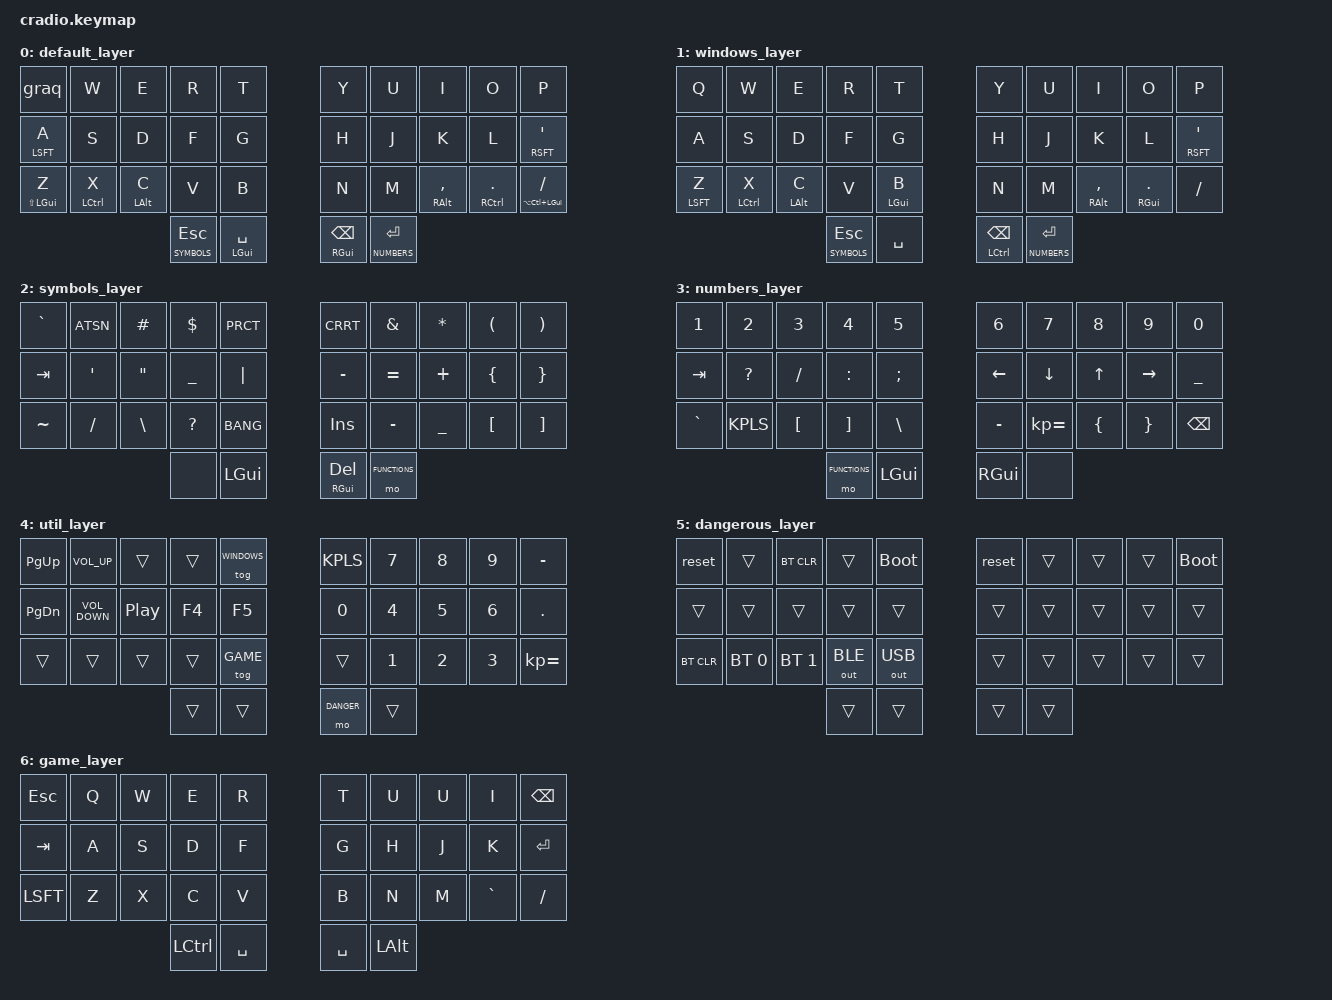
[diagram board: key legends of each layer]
/*
 * Copyright (c) 2020 The ZMK Contributors
 *
 * SPDX-License-Identifier: MIT
 */

#include <behaviors.dtsi>
#include <dt-bindings/zmk/keys.h>
#include <dt-bindings/zmk/bt.h>
#include <dt-bindings/zmk/outputs.h>

#define DEFAULT     0
#define WINDOWS     1
#define SYMBOLS     2
#define NUMBERS     3
#define FUNCTIONS   4
#define DANGER      5
#define GAME        6

&mt {
  flavor = "tap-preferred";
  tapping_term_ms = <200>;
  quick-tap-ms = <175>;
};

&caps_word {
    continue-list = <UNDERSCORE MINUS BKSP>;
};

/ {

    combos {
        compatible = "zmk,combos";
        combo_gui {
            timeout-ms = <50>;
            key-positions = <0 1>;
            bindings = <&kp LGUI>;
        };

        combo_minus {
            timeout-ms = <33>;
            key-positions = <6 9>;
            bindings = <&kp MINUS>;
        };

        combo_equal {
            timeout-ms = <33>;
            key-positions = <7 9>;
            bindings = <&kp EQL>;
        };

        combo_backslash {
            timeout-ms = <33>;
            key-positions = <8 9>;
            bindings = <&kp BSLH>;
        };

        combo_semicolon {
            timeout-ms = <50>;
            key-positions = <18 19>;
            bindings = <&kp SCLN>;
        };

        combo_cap_word {
            timeout-ms = <50>;
            key-positions = <10 19>;
            bindings = <&caps_word>;
        };

        combo_windows {
            timeout-ms = <75>;
            key-positions = <0 9>;
            bindings = <&tog WINDOWS>;
        };

        combo_game {
            timeout-ms = <75>;
            key-positions = <0 8>;
            bindings = <&tog GAME>;
        };
    };

    behaviors {
        td0: tap_dance_0 {
            compatible = "zmk,behavior-tap-dance";
            label = "TAP_DANCE_0";
            #binding-cells = <0>;
            tapping-term-ms = <200>;
            bindings = <&reset>, <&bootloader>;
        };

        td1: tap_dance_0 {
            compatible = "zmk,behavior-tap-dance";
            label = "TAP_DANCE_1";
            #binding-cells = <0>;
            tapping-term-ms = <200>;
            bindings = <&kp BKSP>, <&kp RGUI>;
        };
        
        graq: grave_replace {
            compatible = "zmk,behavior-mod-morph";
            label = "GRAVE_REPLACE";
            #binding-cells = <0>;
            bindings = <&kp Q>, <&kp GRAVE>;
            mods = <(MOD_LGUI)>;
        };
    };

    keymap {
        compatible = "zmk,keymap";

        default_layer {
            bindings = <
                &graq &kp W &kp E &kp R &kp T 						                &kp Y &kp U &kp I &kp O &kp P
                &mt LSFT A &kp S &kp D &kp F &kp G 			                        &kp H &kp J &kp K &kp L &mt RSFT SQT
                &mt LS(LGUI) Z &mt LCTL X &mt LALT C &kp V &kp B	                &kp N &kp M &mt RALT CMMA &mt RCTL DOT &mt LA(LC(LGUI)) FSLH
                &lt SYMBOLS ESC &mt LGUI SPC  				                        &mt RGUI BKSP &lt NUMBERS RET
            >;
        };

        windows_layer {
            bindings = <
                &kp Q &kp W &kp E &kp R &kp T 						                &kp Y &kp U &kp I &kp O &kp P
                &kp A &kp S &kp D &kp F &kp G 			                            &kp H &kp J &kp K &kp L &mt RSFT SQT
                &mt LSFT Z &mt LCTL X &mt LALT C &kp V &mt LGUI B	                &kp N &kp M &mt RALT CMMA &mt RGUI DOT &kp FSLH
                &lt SYMBOLS ESC &kp SPC  				                            &mt LCTL BKSP &lt NUMBERS ENTER
            >;
        };

        symbols_layer {
            bindings = <
                &kp GRAVE  &kp ATSN &kp HASH &kp DLLR &kp PRCT                      &kp CRRT &kp AMPS &kp STAR &kp LPRN &kp RPRN
                &kp TAB &kp SQT &kp DQT &kp UNDER &kp PIPE                           &kp MINUS &kp EQL &kp PLUS &kp LBRC &kp RBRC
                &kp TILDE &kp FSLH &kp BSLH &kp QMARK &kp BANG 	                    &kp INS &kp MINUS &kp UNDER &kp LBKT &kp RBKT
                &none  &kp LGUI  					                                &mt RGUI DEL &mo FUNCTIONS
            >;
        };

        numbers_layer {
            bindings = <
                &kp NUM_1 &kp NUM_2 &kp NUM_3 &kp NUM_4 &kp NUM_5                   &kp NUM_6 &kp NUM_7 &kp NUM_8 &kp NUM_9 &kp NUM_0
                &kp TAB  &kp QMARK  &kp FSLH  &kp COLN  &kp SCLN 	                &kp LEFT &kp DOWN &kp UP  &kp RIGHT &kp UNDER
                &kp GRAVE  &kp KPLS &kp LBKT &kp RBKT   &kp BSLH                    &kp MINUS &kp KP_EQUAL &kp LBRC &kp RBRC &kp BKSP
                &mo FUNCTIONS &kp LGUI  	                                        &kp RGUI  &none
            >;
        };

        util_layer {
            bindings = <
                &kp PAGE_UP &kp C_VOLUME_UP &trans &trans &tog WINDOWS     		    &kp KPLS &kp NUM_7 &kp NUM_8 &kp NUM_9 &kp MINUS
                &kp PAGE_DOWN &kp C_VOLUME_DOWN &kp C_PLAY_PAUSE &kp F4 &kp F5      &kp NUM_0 &kp NUM_4  &kp NUM_5 &kp NUM_6 &kp DOT
                &trans &trans &trans &trans &tog GAME                               &trans &kp NUM_1  &kp NUM_2  &kp NUM_3 &kp KP_EQUAL
                &trans &trans  					                                    &mo DANGER &trans
            >;
        };

        dangerous_layer {
            bindings = <
                &reset &trans &bt BT_CLR &trans &bootloader        		            &reset &trans &trans &trans &bootloader
                &trans &trans &trans &trans &trans                                  &trans &trans &trans &trans &trans
                &bt BT_CLR &bt BT_SEL 0 &bt BT_SEL 1 &out OUT_BLE &out OUT_USB      &trans &trans &trans &trans &trans
                &trans &trans  					                                    &trans &trans
            >;
        };

        game_layer {
            bindings = <
                &kp ESC &kp Q &kp W &kp E &kp R                                     &kp T &kp U &kp U &kp I &kp BKSP
                &kp TAB &kp A &kp S &kp D &kp F                                     &kp G &kp H &kp J &kp K &kp ENTER
                &kp LSFT &kp Z &kp X &kp C &kp V 	                                &kp B &kp N &kp M &kp GRAVE &kp FSLH
                &kp LCTL &kp SPC  				                                    &kp SPC &kp LALT
            >;
        };
    };
};
